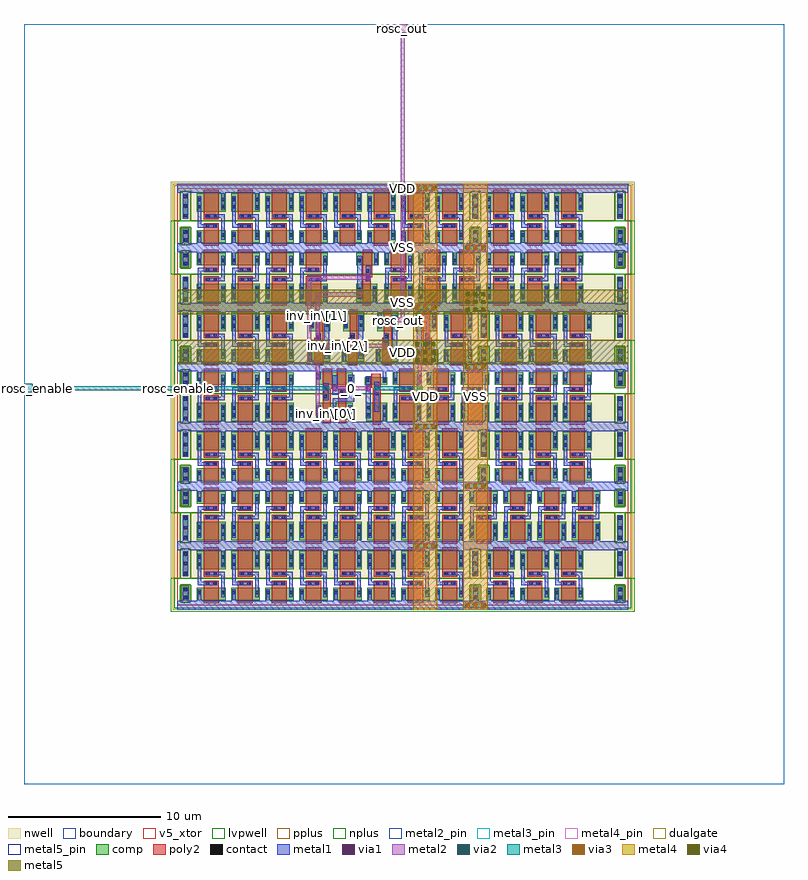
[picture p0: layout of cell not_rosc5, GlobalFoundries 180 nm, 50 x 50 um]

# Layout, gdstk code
from math import pi, radians
import gdstk
lib = gdstk.Library(unit=1e-6, precision=1e-09)
def R(c, l, rs):  # rectangles x0, y0, x1, y1
    for r in rs: c.add(gdstk.rectangle(r[:2], r[2:], *l))
def A(c, l, x, y, w, h, nx, ny, dx, dy):  # array of equal rectangles
    R(c, l, [(x+i*dx, y+j*dy, x+i*dx+w, y+j*dy+h) for i in range(nx) for j in range(ny)])
def P(c, l, *ps):  # polygons
    for p in ps: c.add(gdstk.Polygon(p, *l))
boundary = (0, 0)
nwell = (21, 0)
comp = (22, 0)
poly2 = (30, 0)
pplus = (31, 0)
nplus = (32, 0)
contact = (33, 0)
metal1 = (34, 0)
via1 = (35, 0)
metal2 = (36, 0)
metal2_pin = (36, 10)
via2 = (38, 0)
via3 = (40, 0)
via4 = (41, 0)
metal3 = (42, 0)
metal3_pin = (42, 10)
metal4 = (46, 0)
metal4_pin = (46, 10)
dualgate = (55, 0)
metal5 = (81, 0)
metal5_pin = (81, 10)
v5_xtor = (112, 1)
lvpwell = (204, 0)

gf180mcu_fd_sc_mcu7t5v0_ = lib.new_cell('gf180mcu_fd_sc_mcu7t5v0__endcap')
R(gf180mcu_fd_sc_mcu7t5v0_, boundary, [(0,0,1.12,3.92)])
R(gf180mcu_fd_sc_mcu7t5v0_, nwell, [(-0.43,1.76,1.55,4.35)])
R(gf180mcu_fd_sc_mcu7t5v0_, comp, [(0.28,0.28,0.8,1.28), (0.36,1.92,0.72,3.56)])
R(gf180mcu_fd_sc_mcu7t5v0_, pplus, [(0.2,0.2,0.88,1.36)])
P(gf180mcu_fd_sc_mcu7t5v0_, pplus, [(-0.2,1.76),(-0.2,4.12),(1.32,4.12),(1.32,1.76),(0.88,1.76),(0.88,3.72),(0.2,3.72),(0.2,1.76)])
P(gf180mcu_fd_sc_mcu7t5v0_, nplus, [(-0.2,-0.2),(-0.2,1.76),(0.2,1.76),(0.2,3.72),(0.88,3.72),(0.88,1.36),(0.2,1.36),(0.2,0.2),(0.88,0.2),(0.88,3.72),(0.88,1.76),(1.32,1.76),(1.32,-0.2)])
A(gf180mcu_fd_sc_mcu7t5v0_, contact, 0.43, 1.99, 0.22, 0.22, 1, 3, 0, 0.64)
R(gf180mcu_fd_sc_mcu7t5v0_, contact, [(0.43,0.4,0.65,0.62), (0.43,0.905,0.65,1.125)])
P(gf180mcu_fd_sc_mcu7t5v0_, metal1, [(0,-0.3),(0,0.3),(0.37,0.3),(0.37,1.19),(0.71,1.19),(0.71,0.3),(1.12,0.3),(1.12,-0.3)],
  [(0.37,1.92),(0.37,3.62),(0,3.62),(0,4.22),(1.12,4.22),(1.12,3.62),(0.71,3.62),(0.71,1.92)])
R(gf180mcu_fd_sc_mcu7t5v0_, dualgate, [(-0.28,-0.28,1.4,4.2)])
R(gf180mcu_fd_sc_mcu7t5v0_, v5_xtor, [(0,0,1.12,3.92)])
R(gf180mcu_fd_sc_mcu7t5v0_, lvpwell, [(-0.43,-0.43,1.55,1.76)])
gf180mcu_fd_sc_mcu7t5v0_.add(gdstk.Label('VSS', (0.56,-0.01), layer=34, texttype=10))
gf180mcu_fd_sc_mcu7t5v0_.add(gdstk.Label('VDD', (0.56,3.935), layer=34, texttype=10))
gf180mcu_fd_sc_mcu7t5v0_.add(gdstk.Label('& Vendor GLOBALFOUNDRIES', (0,2), layer=63, texttype=63))
gf180mcu_fd_sc_mcu7t5v0_.add(gdstk.Label('& Product GF018hv5v_mcu_sc7', (0,1.5), layer=63, texttype=63))
gf180mcu_fd_sc_mcu7t5v0_.add(gdstk.Label('& Version 2015q2v1', (0,1), layer=63, texttype=63))
gf180mcu_fd_sc_mcu7t5v0_.add(gdstk.Label('& Metric 1.00', (0,0.5), layer=63, texttype=63))

c_gf180mcu_fd_sc_mcu7t5v0_ = lib.new_cell('gf180mcu_fd_sc_mcu7t5v0__filltie')
R(c_gf180mcu_fd_sc_mcu7t5v0_, boundary, [(0,0,1.12,3.92)])
R(c_gf180mcu_fd_sc_mcu7t5v0_, nwell, [(-0.43,1.76,1.55,4.35)])
R(c_gf180mcu_fd_sc_mcu7t5v0_, comp, [(0.28,0.28,0.84,1.28), (0.36,1.92,0.76,3.56)])
R(c_gf180mcu_fd_sc_mcu7t5v0_, pplus, [(0.2,0.2,0.92,1.36)])
P(c_gf180mcu_fd_sc_mcu7t5v0_, pplus, [(-0.2,1.76),(-0.2,4.12),(1.32,4.12),(1.32,1.76),(0.92,1.76),(0.92,3.72),(0.2,3.72),(0.2,1.76)])
P(c_gf180mcu_fd_sc_mcu7t5v0_, nplus, [(-0.2,-0.2),(-0.2,1.76),(0.2,1.76),(0.2,3.72),(0.92,3.72),(0.92,1.36),(0.2,1.36),(0.2,0.2),(0.92,0.2),(0.92,3.72),(0.92,1.76),(1.32,1.76),(1.32,-0.2)])
A(c_gf180mcu_fd_sc_mcu7t5v0_, contact, 0.45, 1.99, 0.22, 0.22, 1, 3, 0, 0.64)
R(c_gf180mcu_fd_sc_mcu7t5v0_, contact, [(0.45,0.4,0.67,0.62), (0.45,0.905,0.67,1.125)])
P(c_gf180mcu_fd_sc_mcu7t5v0_, metal1, [(0,-0.3),(0,0.3),(0.39,0.3),(0.39,1.185),(0.73,1.185),(0.73,0.3),(1.12,0.3),(1.12,-0.3)],
  [(0.39,1.93),(0.39,3.62),(0,3.62),(0,4.22),(1.12,4.22),(1.12,3.62),(0.73,3.62),(0.73,1.93)])
R(c_gf180mcu_fd_sc_mcu7t5v0_, dualgate, [(-0.28,-0.28,1.4,4.2)])
R(c_gf180mcu_fd_sc_mcu7t5v0_, v5_xtor, [(0,0,1.12,3.92)])
R(c_gf180mcu_fd_sc_mcu7t5v0_, lvpwell, [(-0.43,-0.43,1.55,1.76)])
c_gf180mcu_fd_sc_mcu7t5v0_.add(gdstk.Label('VDD', (0.57,3.92), layer=34, texttype=10))
c_gf180mcu_fd_sc_mcu7t5v0_.add(gdstk.Label('VSS', (0.57,0), layer=34, texttype=10))
c_gf180mcu_fd_sc_mcu7t5v0_.add(gdstk.Label('& Vendor GLOBALFOUNDRIES', (0,2), layer=63, texttype=63))
c_gf180mcu_fd_sc_mcu7t5v0_.add(gdstk.Label('& Product GF018hv5v_mcu_sc7', (0,1.5), layer=63, texttype=63))
c_gf180mcu_fd_sc_mcu7t5v0_.add(gdstk.Label('& Version 2015q2v1', (0,1), layer=63, texttype=63))
c_gf180mcu_fd_sc_mcu7t5v0_.add(gdstk.Label('& Metric 1.00', (0,0.5), layer=63, texttype=63))

c_gf180mcu_fd_sc_mcu7t5v0__ = lib.new_cell('gf180mcu_fd_sc_mcu7t5v0__fill_1')
R(c_gf180mcu_fd_sc_mcu7t5v0__, boundary, [(0,0,0.56,3.92)])
R(c_gf180mcu_fd_sc_mcu7t5v0__, nwell, [(-0.43,1.76,0.99,4.35)])
R(c_gf180mcu_fd_sc_mcu7t5v0__, pplus, [(-0.2,1.76,0.76,4.12)])
R(c_gf180mcu_fd_sc_mcu7t5v0__, nplus, [(-0.2,-0.2,0.76,1.76)])
R(c_gf180mcu_fd_sc_mcu7t5v0__, metal1, [(0,-0.3,0.56,0.3), (0,3.62,0.56,4.22)])
R(c_gf180mcu_fd_sc_mcu7t5v0__, dualgate, [(-0.28,-0.28,0.84,4.2)])
R(c_gf180mcu_fd_sc_mcu7t5v0__, v5_xtor, [(0,0,0.56,3.92)])
R(c_gf180mcu_fd_sc_mcu7t5v0__, lvpwell, [(-0.43,-0.43,0.99,1.76)])
c_gf180mcu_fd_sc_mcu7t5v0__.add(gdstk.Label('VDD', (0.275,3.89), layer=34, texttype=10))
c_gf180mcu_fd_sc_mcu7t5v0__.add(gdstk.Label('VSS', (0.265,0.025), layer=34, texttype=10))
c_gf180mcu_fd_sc_mcu7t5v0__.add(gdstk.Label('& Vendor GLOBALFOUNDRIES', (0,2), layer=63, texttype=63))
c_gf180mcu_fd_sc_mcu7t5v0__.add(gdstk.Label('& Product GF018hv5v_mcu_sc7', (0,1.5), layer=63, texttype=63))
c_gf180mcu_fd_sc_mcu7t5v0__.add(gdstk.Label('& Version 2015q2v1', (0,1), layer=63, texttype=63))
c_gf180mcu_fd_sc_mcu7t5v0__.add(gdstk.Label('& Metric 1.00', (0,0.5), layer=63, texttype=63))
c_gf180mcu_fd_sc_mcu7t5v0__.add(gdstk.Label('VNW', (0.345,3.92), layer=21, texttype=10))
c_gf180mcu_fd_sc_mcu7t5v0__.add(gdstk.Label('VPW', (0.34,-0.085), layer=204, texttype=10))

c_gf180mcu_fd_sc_mcu7t5v0___ = lib.new_cell('gf180mcu_fd_sc_mcu7t5v0__fillcap_16')
R(c_gf180mcu_fd_sc_mcu7t5v0___, boundary, [(0,0,8.96,3.92)])
R(c_gf180mcu_fd_sc_mcu7t5v0___, nwell, [(-0.43,1.76,9.39,4.35)])
A(c_gf180mcu_fd_sc_mcu7t5v0___, comp, 0.18, 0.34, 1.88, 0.82, 4, 1, 2.24, 0)
A(c_gf180mcu_fd_sc_mcu7t5v0___, comp, 0.18, 2.36, 1.88, 1.22, 4, 1, 2.24, 0)
A(c_gf180mcu_fd_sc_mcu7t5v0___, poly2, 0.62, 0.12, 1, 1.5, 4, 1, 2.24, 0)
A(c_gf180mcu_fd_sc_mcu7t5v0___, poly2, 0.62, 1.875, 1, 1.925, 4, 1, 2.24, 0)
R(c_gf180mcu_fd_sc_mcu7t5v0___, pplus, [(-0.2,1.76,9.16,4.12)])
R(c_gf180mcu_fd_sc_mcu7t5v0___, nplus, [(-0.2,-0.2,9.16,1.76)])
R(c_gf180mcu_fd_sc_mcu7t5v0___, contact, [(0.25,0.735,0.47,0.955), (1.77,0.735,1.99,0.955), (2.49,0.735,2.71,0.955), (4.01,0.735,4.23,0.955), (4.73,0.735,4.95,0.955), (6.25,0.735,6.47,0.955), (6.97,0.735,7.19,0.955), (8.49,0.735,8.71,0.955), (0.765,1.33,0.985,1.55), (1.235,1.33,1.455,1.55), (3.005,1.33,3.225,1.55), (3.475,1.33,3.695,1.55), (5.245,1.33,5.465,1.55), (5.715,1.33,5.935,1.55), (7.485,1.33,7.705,1.55), (7.955,1.33,8.175,1.55), (0.805,1.965,1.025,2.185), (1.275,1.965,1.495,2.185), (3.045,1.965,3.265,2.185), (3.515,1.965,3.735,2.185), (5.285,1.965,5.505,2.185), (5.755,1.965,5.975,2.185), (7.525,1.965,7.745,2.185), (7.995,1.965,8.215,2.185), (0.25,2.59,0.47,2.81), (1.77,2.59,1.99,2.81), (2.49,2.59,2.71,2.81), (4.01,2.59,4.23,2.81), (4.73,2.59,4.95,2.81), (6.25,2.59,6.47,2.81), (6.97,2.59,7.19,2.81), (8.49,2.59,8.71,2.81), (0.25,3.06,0.47,3.28), (1.77,3.06,1.99,3.28), (2.49,3.06,2.71,3.28), (4.01,3.06,4.23,3.28), (4.73,3.06,4.95,3.28), (6.25,3.06,6.47,3.28), (6.97,3.06,7.19,3.28), (8.49,3.06,8.71,3.28)])
P(c_gf180mcu_fd_sc_mcu7t5v0___, metal1, [(0.245,1.325),(0.245,3.39),(0.475,3.39),(0.475,1.555),(1.52,1.555),(1.52,1.325)],
  [(1.765,0.53),(1.765,1.96),(0.73,1.96),(0.73,2.19),(1.995,2.19),(1.995,0.53)],
  [(2.485,1.325),(2.485,3.39),(2.715,3.39),(2.715,1.555),(3.76,1.555),(3.76,1.325)],
  [(4.005,0.53),(4.005,1.96),(2.97,1.96),(2.97,2.19),(4.235,2.19),(4.235,0.53)],
  [(4.725,1.325),(4.725,3.39),(4.955,3.39),(4.955,1.555),(6,1.555),(6,1.325)],
  [(6.245,0.53),(6.245,1.96),(5.21,1.96),(5.21,2.19),(6.475,2.19),(6.475,0.53)],
  [(6.965,1.325),(6.965,3.39),(7.195,3.39),(7.195,1.555),(8.24,1.555),(8.24,1.325)],
  [(8.485,0.53),(8.485,1.96),(7.45,1.96),(7.45,2.19),(8.715,2.19),(8.715,0.53)],
  [(0,-0.3),(0,0.3),(0.245,0.3),(0.245,1.07),(0.475,1.07),(0.475,0.3),(2.485,0.3),(2.485,1.07),(2.715,1.07),(2.715,0.3),(4.725,0.3),(4.725,1.07),(4.955,1.07),(4.955,0.3),(6.965,0.3),(6.965,1.07),(7.195,1.07),(7.195,0.3),(8.96,0.3),(8.96,-0.3)],
  [(1.765,2.49),(1.765,3.62),(0,3.62),(0,4.22),(8.96,4.22),(8.96,3.62),(8.715,3.62),(8.715,2.49),(8.485,2.49),(8.485,3.62),(6.475,3.62),(6.475,2.49),(6.245,2.49),(6.245,3.62),(4.235,3.62),(4.235,2.49),(4.005,2.49),(4.005,3.62),(1.995,3.62),(1.995,2.49)])
R(c_gf180mcu_fd_sc_mcu7t5v0___, dualgate, [(-0.28,-0.28,9.24,4.2)])
R(c_gf180mcu_fd_sc_mcu7t5v0___, v5_xtor, [(0,0,8.96,3.92)])
R(c_gf180mcu_fd_sc_mcu7t5v0___, lvpwell, [(-0.43,-0.43,9.39,1.76)])
c_gf180mcu_fd_sc_mcu7t5v0___.add(gdstk.Label('VDD', (4.48,3.92), layer=34, texttype=10))
c_gf180mcu_fd_sc_mcu7t5v0___.add(gdstk.Label('VSS', (4.48,-0.02), layer=34, texttype=10))
c_gf180mcu_fd_sc_mcu7t5v0___.add(gdstk.Label('& Vendor GLOBALFOUNDRIES', (0,2), layer=63, texttype=63))
c_gf180mcu_fd_sc_mcu7t5v0___.add(gdstk.Label('& Product GF018hv5v_mcu_sc7', (0,1.5), layer=63, texttype=63))
c_gf180mcu_fd_sc_mcu7t5v0___.add(gdstk.Label('& Version 2015q2v1', (0,1), layer=63, texttype=63))
c_gf180mcu_fd_sc_mcu7t5v0___.add(gdstk.Label('& Metric 1.00', (0,0.5), layer=63, texttype=63))
c_gf180mcu_fd_sc_mcu7t5v0___.add(gdstk.Label('VNW', (0.345,3.92), layer=21, texttype=10))
c_gf180mcu_fd_sc_mcu7t5v0___.add(gdstk.Label('VPW', (0.34,-0.085), layer=204, texttype=10))

c_gf180mcu_fd_sc_mcu7t5v0____ = lib.new_cell('gf180mcu_fd_sc_mcu7t5v0__fill_2')
R(c_gf180mcu_fd_sc_mcu7t5v0____, boundary, [(0,0,1.12,3.92)])
R(c_gf180mcu_fd_sc_mcu7t5v0____, nwell, [(-0.43,1.76,1.55,4.35)])
R(c_gf180mcu_fd_sc_mcu7t5v0____, pplus, [(-0.2,1.76,1.32,4.12)])
R(c_gf180mcu_fd_sc_mcu7t5v0____, nplus, [(-0.2,-0.2,1.32,1.76)])
R(c_gf180mcu_fd_sc_mcu7t5v0____, metal1, [(0,-0.3,1.12,0.3), (0,3.62,1.12,4.22)])
R(c_gf180mcu_fd_sc_mcu7t5v0____, dualgate, [(-0.28,-0.28,1.4,4.2)])
R(c_gf180mcu_fd_sc_mcu7t5v0____, v5_xtor, [(0,0,1.12,3.92)])
R(c_gf180mcu_fd_sc_mcu7t5v0____, lvpwell, [(-0.43,-0.43,1.55,1.76)])
c_gf180mcu_fd_sc_mcu7t5v0____.add(gdstk.Label('VDD', (0.51,3.89), layer=34, texttype=10))
c_gf180mcu_fd_sc_mcu7t5v0____.add(gdstk.Label('VSS', (0.52,0), layer=34, texttype=10))
c_gf180mcu_fd_sc_mcu7t5v0____.add(gdstk.Label('& Vendor GLOBALFOUNDRIES', (0,2), layer=63, texttype=63))
c_gf180mcu_fd_sc_mcu7t5v0____.add(gdstk.Label('& Product GF018hv5v_mcu_sc7', (0,1.5), layer=63, texttype=63))
c_gf180mcu_fd_sc_mcu7t5v0____.add(gdstk.Label('& Version 2015q2v1', (0,1), layer=63, texttype=63))
c_gf180mcu_fd_sc_mcu7t5v0____.add(gdstk.Label('& Metric 1.00', (0,0.5), layer=63, texttype=63))
c_gf180mcu_fd_sc_mcu7t5v0____.add(gdstk.Label('VNW', (0.345,3.92), layer=21, texttype=10))
c_gf180mcu_fd_sc_mcu7t5v0____.add(gdstk.Label('VPW', (0.34,-0.085), layer=204, texttype=10))

c_gf180mcu_fd_sc_mcu7t5v0_____ = lib.new_cell('gf180mcu_fd_sc_mcu7t5v0__fillcap_4')
R(c_gf180mcu_fd_sc_mcu7t5v0_____, boundary, [(0,0,2.24,3.92)])
R(c_gf180mcu_fd_sc_mcu7t5v0_____, nwell, [(-0.43,1.76,2.67,4.35)])
R(c_gf180mcu_fd_sc_mcu7t5v0_____, comp, [(0.18,0.34,2.06,1.16), (0.18,2.36,2.06,3.58)])
R(c_gf180mcu_fd_sc_mcu7t5v0_____, poly2, [(0.62,0.12,1.62,1.62), (0.62,1.875,1.62,3.8)])
R(c_gf180mcu_fd_sc_mcu7t5v0_____, pplus, [(-0.2,1.76,2.44,4.12)])
R(c_gf180mcu_fd_sc_mcu7t5v0_____, nplus, [(-0.2,-0.2,2.44,1.76)])
R(c_gf180mcu_fd_sc_mcu7t5v0_____, contact, [(0.25,0.735,0.47,0.955), (1.77,0.735,1.99,0.955), (0.765,1.33,0.985,1.55), (1.235,1.33,1.455,1.55), (0.805,1.965,1.025,2.185), (1.275,1.965,1.495,2.185), (0.25,2.59,0.47,2.81), (1.77,2.59,1.99,2.81), (0.25,3.06,0.47,3.28), (1.77,3.06,1.99,3.28)])
P(c_gf180mcu_fd_sc_mcu7t5v0_____, metal1, [(0.245,1.325),(0.245,3.39),(0.475,3.39),(0.475,1.555),(1.52,1.555),(1.52,1.325)],
  [(1.765,0.53),(1.765,1.96),(0.73,1.96),(0.73,2.19),(1.995,2.19),(1.995,0.53)],
  [(0,-0.3),(0,0.3),(0.245,0.3),(0.245,1.095),(0.475,1.095),(0.475,0.3),(2.24,0.3),(2.24,-0.3)],
  [(1.765,2.49),(1.765,3.62),(0,3.62),(0,4.22),(2.24,4.22),(2.24,3.62),(1.995,3.62),(1.995,2.49)])
R(c_gf180mcu_fd_sc_mcu7t5v0_____, dualgate, [(-0.28,-0.28,2.52,4.2)])
R(c_gf180mcu_fd_sc_mcu7t5v0_____, v5_xtor, [(0,0,2.24,3.92)])
R(c_gf180mcu_fd_sc_mcu7t5v0_____, lvpwell, [(-0.43,-0.43,2.67,1.76)])
c_gf180mcu_fd_sc_mcu7t5v0_____.add(gdstk.Label('VDD', (1.12,3.91), layer=34, texttype=10))
c_gf180mcu_fd_sc_mcu7t5v0_____.add(gdstk.Label('VSS', (1.12,-0.03), layer=34, texttype=10))
c_gf180mcu_fd_sc_mcu7t5v0_____.add(gdstk.Label('& Vendor GLOBALFOUNDRIES', (0,2), layer=63, texttype=63))
c_gf180mcu_fd_sc_mcu7t5v0_____.add(gdstk.Label('& Product GF018hv5v_mcu_sc7', (0,1.5), layer=63, texttype=63))
c_gf180mcu_fd_sc_mcu7t5v0_____.add(gdstk.Label('& Version 2015q2v1', (0,1), layer=63, texttype=63))
c_gf180mcu_fd_sc_mcu7t5v0_____.add(gdstk.Label('& Metric 1.00', (0,0.5), layer=63, texttype=63))
c_gf180mcu_fd_sc_mcu7t5v0_____.add(gdstk.Label('VNW', (0.345,3.92), layer=21, texttype=10))
c_gf180mcu_fd_sc_mcu7t5v0_____.add(gdstk.Label('VPW', (0.34,-0.085), layer=204, texttype=10))

c_gf180mcu_fd_sc_mcu7t5v0______ = lib.new_cell('gf180mcu_fd_sc_mcu7t5v0__fillcap_8')
R(c_gf180mcu_fd_sc_mcu7t5v0______, boundary, [(0,0,4.48,3.92)])
R(c_gf180mcu_fd_sc_mcu7t5v0______, nwell, [(-0.43,1.76,4.91,4.35)])
R(c_gf180mcu_fd_sc_mcu7t5v0______, comp, [(0.18,0.34,2.06,1.16), (2.42,0.34,4.3,1.16), (0.18,2.36,2.06,3.58), (2.42,2.36,4.3,3.58)])
R(c_gf180mcu_fd_sc_mcu7t5v0______, poly2, [(0.62,0.12,1.62,1.62), (2.86,0.12,3.86,1.62), (0.62,1.875,1.62,3.8), (2.86,1.875,3.86,3.8)])
R(c_gf180mcu_fd_sc_mcu7t5v0______, pplus, [(-0.2,1.76,4.68,4.12)])
R(c_gf180mcu_fd_sc_mcu7t5v0______, nplus, [(-0.2,-0.2,4.68,1.76)])
R(c_gf180mcu_fd_sc_mcu7t5v0______, contact, [(0.25,0.735,0.47,0.955), (1.77,0.735,1.99,0.955), (2.49,0.735,2.71,0.955), (4.01,0.735,4.23,0.955), (0.765,1.33,0.985,1.55), (1.235,1.33,1.455,1.55), (3.005,1.33,3.225,1.55), (3.475,1.33,3.695,1.55), (0.805,1.965,1.025,2.185), (1.275,1.965,1.495,2.185), (3.045,1.965,3.265,2.185), (3.515,1.965,3.735,2.185), (0.25,2.59,0.47,2.81), (1.77,2.59,1.99,2.81), (2.49,2.59,2.71,2.81), (4.01,2.59,4.23,2.81), (0.25,3.06,0.47,3.28), (1.77,3.06,1.99,3.28), (2.49,3.06,2.71,3.28), (4.01,3.06,4.23,3.28)])
P(c_gf180mcu_fd_sc_mcu7t5v0______, metal1, [(0.245,1.325),(0.245,3.39),(0.475,3.39),(0.475,1.555),(1.52,1.555),(1.52,1.325)],
  [(1.765,0.53),(1.765,1.96),(0.73,1.96),(0.73,2.19),(1.995,2.19),(1.995,0.53)],
  [(2.485,1.325),(2.485,3.39),(2.715,3.39),(2.715,1.555),(3.76,1.555),(3.76,1.325)],
  [(4.005,0.53),(4.005,1.96),(2.97,1.96),(2.97,2.19),(4.235,2.19),(4.235,0.53)],
  [(0,-0.3),(0,0.3),(0.245,0.3),(0.245,1.085),(0.475,1.085),(0.475,0.3),(2.485,0.3),(2.485,1.085),(2.715,1.085),(2.715,0.3),(4.48,0.3),(4.48,-0.3)],
  [(1.765,2.49),(1.765,3.62),(0,3.62),(0,4.22),(4.48,4.22),(4.48,3.62),(4.235,3.62),(4.235,2.49),(4.005,2.49),(4.005,3.62),(1.995,3.62),(1.995,2.49)])
R(c_gf180mcu_fd_sc_mcu7t5v0______, dualgate, [(-0.28,-0.28,4.76,4.2)])
R(c_gf180mcu_fd_sc_mcu7t5v0______, v5_xtor, [(0,0,4.48,3.92)])
R(c_gf180mcu_fd_sc_mcu7t5v0______, lvpwell, [(-0.43,-0.43,4.91,1.76)])
c_gf180mcu_fd_sc_mcu7t5v0______.add(gdstk.Label('VDD', (2.24,3.91), layer=34, texttype=10))
c_gf180mcu_fd_sc_mcu7t5v0______.add(gdstk.Label('VSS', (2.24,0.01), layer=34, texttype=10))
c_gf180mcu_fd_sc_mcu7t5v0______.add(gdstk.Label('& Vendor GLOBALFOUNDRIES', (0,2), layer=63, texttype=63))
c_gf180mcu_fd_sc_mcu7t5v0______.add(gdstk.Label('& Product GF018hv5v_mcu_sc7', (0,1.5), layer=63, texttype=63))
c_gf180mcu_fd_sc_mcu7t5v0______.add(gdstk.Label('& Version 2015q2v1', (0,1), layer=63, texttype=63))
c_gf180mcu_fd_sc_mcu7t5v0______.add(gdstk.Label('& Metric 1.00', (0,0.5), layer=63, texttype=63))
c_gf180mcu_fd_sc_mcu7t5v0______.add(gdstk.Label('VNW', (0.345,3.92), layer=21, texttype=10))
c_gf180mcu_fd_sc_mcu7t5v0______.add(gdstk.Label('VPW', (0.34,-0.085), layer=204, texttype=10))

c_gf180mcu_fd_sc_mcu7t5v0_______ = lib.new_cell('gf180mcu_fd_sc_mcu7t5v0__fillcap_32')
R(c_gf180mcu_fd_sc_mcu7t5v0_______, boundary, [(0,0,17.92,3.92)])
R(c_gf180mcu_fd_sc_mcu7t5v0_______, nwell, [(-0.43,1.76,18.35,4.35)])
A(c_gf180mcu_fd_sc_mcu7t5v0_______, comp, 0.18, 0.34, 1.88, 0.82, 8, 1, 2.24, 0)
A(c_gf180mcu_fd_sc_mcu7t5v0_______, comp, 0.18, 2.36, 1.88, 1.22, 8, 1, 2.24, 0)
A(c_gf180mcu_fd_sc_mcu7t5v0_______, poly2, 0.62, 0.12, 1, 1.5, 8, 1, 2.24, 0)
A(c_gf180mcu_fd_sc_mcu7t5v0_______, poly2, 0.62, 1.875, 1, 1.925, 8, 1, 2.24, 0)
R(c_gf180mcu_fd_sc_mcu7t5v0_______, pplus, [(-0.2,1.76,18.12,4.12)])
R(c_gf180mcu_fd_sc_mcu7t5v0_______, nplus, [(-0.2,-0.2,18.12,1.76)])
R(c_gf180mcu_fd_sc_mcu7t5v0_______, contact, [(0.25,0.735,0.47,0.955), (1.77,0.735,1.99,0.955), (2.49,0.735,2.71,0.955), (4.01,0.735,4.23,0.955), (4.73,0.735,4.95,0.955), (6.25,0.735,6.47,0.955), (6.97,0.735,7.19,0.955), (8.49,0.735,8.71,0.955), (9.21,0.735,9.43,0.955), (10.73,0.735,10.95,0.955), (11.45,0.735,11.67,0.955), (12.97,0.735,13.19,0.955), (13.69,0.735,13.91,0.955), (15.21,0.735,15.43,0.955), (15.93,0.735,16.15,0.955), (17.45,0.735,17.67,0.955), (0.765,1.33,0.985,1.55), (1.235,1.33,1.455,1.55), (3.005,1.33,3.225,1.55), (3.475,1.33,3.695,1.55), (5.245,1.33,5.465,1.55), (5.715,1.33,5.935,1.55), (7.485,1.33,7.705,1.55), (7.955,1.33,8.175,1.55), (9.725,1.33,9.945,1.55), (10.195,1.33,10.415,1.55), (11.965,1.33,12.185,1.55), (12.435,1.33,12.655,1.55), (14.205,1.33,14.425,1.55), (14.675,1.33,14.895,1.55), (16.445,1.33,16.665,1.55), (16.915,1.33,17.135,1.55), (0.805,1.965,1.025,2.185), (1.275,1.965,1.495,2.185), (3.045,1.965,3.265,2.185), (3.515,1.965,3.735,2.185), (5.285,1.965,5.505,2.185), (5.755,1.965,5.975,2.185), (7.525,1.965,7.745,2.185), (7.995,1.965,8.215,2.185), (9.765,1.965,9.985,2.185), (10.235,1.965,10.455,2.185), (12.005,1.965,12.225,2.185), (12.475,1.965,12.695,2.185), (14.245,1.965,14.465,2.185), (14.715,1.965,14.935,2.185), (16.485,1.965,16.705,2.185), (16.955,1.965,17.175,2.185), (0.25,2.59,0.47,2.81), (1.77,2.59,1.99,2.81), (2.49,2.59,2.71,2.81), (4.01,2.59,4.23,2.81), (4.73,2.59,4.95,2.81), (6.25,2.59,6.47,2.81), (6.97,2.59,7.19,2.81), (8.49,2.59,8.71,2.81), (9.21,2.59,9.43,2.81), (10.73,2.59,10.95,2.81), (11.45,2.59,11.67,2.81), (12.97,2.59,13.19,2.81), (13.69,2.59,13.91,2.81), (15.21,2.59,15.43,2.81), (15.93,2.59,16.15,2.81), (17.45,2.59,17.67,2.81), (0.25,3.06,0.47,3.28), (1.77,3.06,1.99,3.28), (2.49,3.06,2.71,3.28), (4.01,3.06,4.23,3.28), (4.73,3.06,4.95,3.28), (6.25,3.06,6.47,3.28), (6.97,3.06,7.19,3.28), (8.49,3.06,8.71,3.28), (9.21,3.06,9.43,3.28), (10.73,3.06,10.95,3.28), (11.45,3.06,11.67,3.28), (12.97,3.06,13.19,3.28), (13.69,3.06,13.91,3.28), (15.21,3.06,15.43,3.28), (15.93,3.06,16.15,3.28), (17.45,3.06,17.67,3.28)])
P(c_gf180mcu_fd_sc_mcu7t5v0_______, metal1, [(0.245,1.325),(0.245,3.39),(0.475,3.39),(0.475,1.555),(1.52,1.555),(1.52,1.325)],
  [(1.765,0.53),(1.765,1.96),(0.73,1.96),(0.73,2.19),(1.995,2.19),(1.995,0.53)],
  [(2.485,1.325),(2.485,3.39),(2.715,3.39),(2.715,1.555),(3.76,1.555),(3.76,1.325)],
  [(4.005,0.53),(4.005,1.96),(2.97,1.96),(2.97,2.19),(4.235,2.19),(4.235,0.53)],
  [(4.725,1.325),(4.725,3.39),(4.955,3.39),(4.955,1.555),(6,1.555),(6,1.325)],
  [(6.245,0.53),(6.245,1.96),(5.21,1.96),(5.21,2.19),(6.475,2.19),(6.475,0.53)],
  [(6.965,1.325),(6.965,3.39),(7.195,3.39),(7.195,1.555),(8.24,1.555),(8.24,1.325)],
  [(8.485,0.53),(8.485,1.96),(7.45,1.96),(7.45,2.19),(8.715,2.19),(8.715,0.53)],
  [(9.205,1.325),(9.205,3.39),(9.435,3.39),(9.435,1.555),(10.48,1.555),(10.48,1.325)],
  [(10.725,0.53),(10.725,1.96),(9.69,1.96),(9.69,2.19),(10.955,2.19),(10.955,0.53)],
  [(11.445,1.325),(11.445,3.39),(11.675,3.39),(11.675,1.555),(12.72,1.555),(12.72,1.325)],
  [(12.965,0.53),(12.965,1.96),(11.93,1.96),(11.93,2.19),(13.195,2.19),(13.195,0.53)],
  [(13.685,1.325),(13.685,3.39),(13.915,3.39),(13.915,1.555),(14.96,1.555),(14.96,1.325)],
  [(15.205,0.53),(15.205,1.96),(14.17,1.96),(14.17,2.19),(15.435,2.19),(15.435,0.53)],
  [(15.925,1.325),(15.925,3.39),(16.155,3.39),(16.155,1.555),(17.2,1.555),(17.2,1.325)],
  [(17.445,0.53),(17.445,1.96),(16.41,1.96),(16.41,2.19),(17.675,2.19),(17.675,0.53)],
  [(0,-0.3),(0,0.3),(0.245,0.3),(0.245,1.045),(0.475,1.045),(0.475,0.3),(2.485,0.3),(2.485,1.045),(2.715,1.045),(2.715,0.3),(4.725,0.3),(4.725,1.045),(4.955,1.045),(4.955,0.3),(6.965,0.3),(6.965,1.045),(7.195,1.045),(7.195,0.3),(9.205,0.3),(9.205,1.045),(9.435,1.045),(9.435,0.3),(11.445,0.3),(11.445,1.045),(11.675,1.045),(11.675,0.3),(13.685,0.3),(13.685,1.045),(13.915,1.045),(13.915,0.3),(15.925,0.3),(15.925,1.045),(16.155,1.045),(16.155,0.3),(17.92,0.3),(17.92,-0.3)],
  [(1.765,2.49),(1.765,3.62),(0,3.62),(0,4.22),(17.92,4.22),(17.92,3.62),(17.675,3.62),(17.675,2.49),(17.445,2.49),(17.445,3.62),(15.435,3.62),(15.435,2.49),(15.205,2.49),(15.205,3.62),(13.195,3.62),(13.195,2.49),(12.965,2.49),(12.965,3.62),(10.955,3.62),(10.955,2.49),(10.725,2.49),(10.725,3.62),(8.715,3.62),(8.715,2.49),(8.485,2.49),(8.485,3.62),(6.475,3.62),(6.475,2.49),(6.245,2.49),(6.245,3.62),(4.235,3.62),(4.235,2.49),(4.005,2.49),(4.005,3.62),(1.995,3.62),(1.995,2.49)])
R(c_gf180mcu_fd_sc_mcu7t5v0_______, dualgate, [(-0.28,-0.28,18.2,4.2)])
R(c_gf180mcu_fd_sc_mcu7t5v0_______, v5_xtor, [(0,0,17.92,3.92)])
R(c_gf180mcu_fd_sc_mcu7t5v0_______, lvpwell, [(-0.43,-0.43,18.35,1.76)])
c_gf180mcu_fd_sc_mcu7t5v0_______.add(gdstk.Label('VDD', (8.925,3.905), layer=34, texttype=10))
c_gf180mcu_fd_sc_mcu7t5v0_______.add(gdstk.Label('VSS', (8.955,0.005), layer=34, texttype=10))
c_gf180mcu_fd_sc_mcu7t5v0_______.add(gdstk.Label('& Vendor GLOBALFOUNDRIES', (0,2), layer=63, texttype=63))
c_gf180mcu_fd_sc_mcu7t5v0_______.add(gdstk.Label('& Product GF018hv5v_mcu_sc7', (0,1.5), layer=63, texttype=63))
c_gf180mcu_fd_sc_mcu7t5v0_______.add(gdstk.Label('& Version 2015q2v1', (0,1), layer=63, texttype=63))
c_gf180mcu_fd_sc_mcu7t5v0_______.add(gdstk.Label('& Metric 1.00', (0,0.5), layer=63, texttype=63))
c_gf180mcu_fd_sc_mcu7t5v0_______.add(gdstk.Label('VNW', (0.345,3.92), layer=21, texttype=10))
c_gf180mcu_fd_sc_mcu7t5v0_______.add(gdstk.Label('VPW', (0.34,-0.085), layer=204, texttype=10))

c_gf180mcu_fd_sc_mcu7t5v0________ = lib.new_cell('gf180mcu_fd_sc_mcu7t5v0__nand2_1')
R(c_gf180mcu_fd_sc_mcu7t5v0________, boundary, [(0,0,2.8,3.92)])
R(c_gf180mcu_fd_sc_mcu7t5v0________, nwell, [(-0.43,1.76,3.23,4.35)])
R(c_gf180mcu_fd_sc_mcu7t5v0________, comp, [(0.185,0.34,2.585,1.16), (0.185,2.36,2.585,3.49)])
P(c_gf180mcu_fd_sc_mcu7t5v0________, poly2, [(0.625,0.12),(0.625,3.71),(1.125,3.71),(1.125,1.44),(1.225,1.44),(1.225,0.12)],
  [(1.545,0.12),(1.545,1.44),(1.645,1.44),(1.645,3.71),(2.145,3.71),(2.145,0.12)])
R(c_gf180mcu_fd_sc_mcu7t5v0________, pplus, [(-0.2,1.76,3,4.12)])
R(c_gf180mcu_fd_sc_mcu7t5v0________, nplus, [(-0.2,-0.2,3,1.76)])
A(c_gf180mcu_fd_sc_mcu7t5v0________, contact, 0.255, 2.63, 0.22, 0.22, 3, 2, 1.02, 0.47)
R(c_gf180mcu_fd_sc_mcu7t5v0________, contact, [(0.255,0.485,0.475,0.705), (2.295,0.675,2.515,0.895), (0.695,1.365,0.915,1.585), (1.755,1.515,1.975,1.735), (0.695,1.835,0.915,2.055)])
R(c_gf180mcu_fd_sc_mcu7t5v0________, metal1, [(0.635,1.06,1,2.19)])
P(c_gf180mcu_fd_sc_mcu7t5v0________, metal1, [(1.24,0.555),(1.24,1.82),(2.055,1.82),(2.055,1.44),(1.605,1.44),(1.605,0.555)],
  [(2.29,0.53),(2.29,2.07),(1.27,2.07),(1.27,3.38),(1.5,3.38),(1.5,2.3),(2.68,2.3),(2.68,0.53)],
  [(0,-0.3),(0,0.3),(0.25,0.3),(0.25,0.805),(0.48,0.805),(0.48,0.3),(2.8,0.3),(2.8,-0.3)],
  [(0.25,2.53),(0.25,3.62),(0,3.62),(0,4.22),(2.8,4.22),(2.8,3.62),(2.52,3.62),(2.52,2.53),(2.29,2.53),(2.29,3.62),(0.48,3.62),(0.48,2.53)])
R(c_gf180mcu_fd_sc_mcu7t5v0________, dualgate, [(-0.28,-0.28,3.08,4.2)])
R(c_gf180mcu_fd_sc_mcu7t5v0________, v5_xtor, [(0,0,2.8,3.92)])
R(c_gf180mcu_fd_sc_mcu7t5v0________, lvpwell, [(-0.43,-0.43,3.23,1.76)])
c_gf180mcu_fd_sc_mcu7t5v0________.add(gdstk.Label('VDD', (1.4,3.905), layer=34, texttype=10))
c_gf180mcu_fd_sc_mcu7t5v0________.add(gdstk.Label('VSS', (1.4,-0.015), layer=34, texttype=10))
c_gf180mcu_fd_sc_mcu7t5v0________.add(gdstk.Label('ZN', (2.52,1.96), layer=34, texttype=10))
c_gf180mcu_fd_sc_mcu7t5v0________.add(gdstk.Label('A1', (1.4,1.4), layer=34, texttype=10))
c_gf180mcu_fd_sc_mcu7t5v0________.add(gdstk.Label('A2', (0.84,1.4), layer=34, texttype=10))
c_gf180mcu_fd_sc_mcu7t5v0________.add(gdstk.Label('& Vendor GLOBALFOUNDRIES', (0,2), layer=63, texttype=63))
c_gf180mcu_fd_sc_mcu7t5v0________.add(gdstk.Label('& Product GF018hv5v_mcu_sc7', (0,1.5), layer=63, texttype=63))
c_gf180mcu_fd_sc_mcu7t5v0________.add(gdstk.Label('& Version 2015q2v1', (0,1), layer=63, texttype=63))
c_gf180mcu_fd_sc_mcu7t5v0________.add(gdstk.Label('& Metric 1.00', (0,0.5), layer=63, texttype=63))
c_gf180mcu_fd_sc_mcu7t5v0________.add(gdstk.Label('VNW', (0.345,3.92), layer=21, texttype=10))
c_gf180mcu_fd_sc_mcu7t5v0________.add(gdstk.Label('VPW', (0.34,-0.085), layer=204, texttype=10))

c_gf180mcu_fd_sc_mcu7t5v0_________ = lib.new_cell('gf180mcu_fd_sc_mcu7t5v0__clkinv_1')
R(c_gf180mcu_fd_sc_mcu7t5v0_________, boundary, [(0,0,2.24,3.92)])
R(c_gf180mcu_fd_sc_mcu7t5v0_________, nwell, [(-0.43,1.76,2.67,4.35)])
R(c_gf180mcu_fd_sc_mcu7t5v0_________, comp, [(0.18,0.68,1.66,1.16), (0.18,2.36,1.56,3.58)])
P(c_gf180mcu_fd_sc_mcu7t5v0_________, poly2, [(0.62,0.46),(0.62,3.8),(1.12,3.8),(1.12,1.38),(1.22,1.38),(1.22,0.46)])
R(c_gf180mcu_fd_sc_mcu7t5v0_________, pplus, [(-0.2,1.76,2.44,4.12)])
R(c_gf180mcu_fd_sc_mcu7t5v0_________, nplus, [(-0.2,-0.2,2.44,1.76)])
R(c_gf180mcu_fd_sc_mcu7t5v0_________, contact, [(0.25,0.76,0.47,0.98), (1.37,0.76,1.59,0.98), (0.71,1.66,0.93,1.88), (0.25,2.58,0.47,2.8), (1.27,2.58,1.49,2.8), (0.25,3.05,0.47,3.27), (1.27,3.05,1.49,3.27)])
R(c_gf180mcu_fd_sc_mcu7t5v0_________, metal1, [(1.26,0.6,1.595,3.37), (0.705,0.97,1.03,2.95)])
P(c_gf180mcu_fd_sc_mcu7t5v0_________, metal1, [(0,-0.3),(0,0.3),(0.245,0.3),(0.245,1.04),(0.475,1.04),(0.475,0.3),(2.24,0.3),(2.24,-0.3)],
  [(0.245,2.48),(0.245,3.62),(0,3.62),(0,4.22),(2.24,4.22),(2.24,3.62),(0.475,3.62),(0.475,2.48)])
R(c_gf180mcu_fd_sc_mcu7t5v0_________, dualgate, [(-0.28,-0.28,2.52,4.2)])
R(c_gf180mcu_fd_sc_mcu7t5v0_________, v5_xtor, [(0,0,2.24,3.92)])
R(c_gf180mcu_fd_sc_mcu7t5v0_________, lvpwell, [(-0.43,-0.43,2.67,1.76)])
c_gf180mcu_fd_sc_mcu7t5v0_________.add(gdstk.Label('VDD', (1.4,3.92), layer=34, texttype=10))
c_gf180mcu_fd_sc_mcu7t5v0_________.add(gdstk.Label('VSS', (1.4,0), layer=34, texttype=10))
c_gf180mcu_fd_sc_mcu7t5v0_________.add(gdstk.Label('I', (0.84,1.96), layer=34, texttype=10))
c_gf180mcu_fd_sc_mcu7t5v0_________.add(gdstk.Label('ZN', (1.4,1.96), layer=34, texttype=10))
c_gf180mcu_fd_sc_mcu7t5v0_________.add(gdstk.Label('& Vendor GLOBALFOUNDRIES', (0,2), layer=63, texttype=63))
c_gf180mcu_fd_sc_mcu7t5v0_________.add(gdstk.Label('& Product GF018hv5v_mcu_sc7', (0,1.5), layer=63, texttype=63))
c_gf180mcu_fd_sc_mcu7t5v0_________.add(gdstk.Label('& Version 2015q2v1', (0,1), layer=63, texttype=63))
c_gf180mcu_fd_sc_mcu7t5v0_________.add(gdstk.Label('& Metric 1.00', (0,0.5), layer=63, texttype=63))
c_gf180mcu_fd_sc_mcu7t5v0_________.add(gdstk.Label('VNW', (0.345,3.92), layer=21, texttype=10))
c_gf180mcu_fd_sc_mcu7t5v0_________.add(gdstk.Label('VPW', (0.34,-0.085), layer=204, texttype=10))

c_gf180mcu_fd_sc_mcu7t5v0__________ = lib.new_cell('gf180mcu_fd_sc_mcu7t5v0__inv_1')
R(c_gf180mcu_fd_sc_mcu7t5v0__________, boundary, [(0,0,2.24,3.92)])
R(c_gf180mcu_fd_sc_mcu7t5v0__________, nwell, [(-0.43,1.76,2.67,4.35)])
R(c_gf180mcu_fd_sc_mcu7t5v0__________, comp, [(0.18,0.34,1.66,1.16), (0.28,2.36,1.66,3.58)])
P(c_gf180mcu_fd_sc_mcu7t5v0__________, poly2, [(0.62,0.12),(0.62,1.93),(0.72,1.93),(0.72,3.8),(1.22,3.8),(1.22,0.12)])
R(c_gf180mcu_fd_sc_mcu7t5v0__________, pplus, [(-0.2,1.76,2.44,4.12)])
R(c_gf180mcu_fd_sc_mcu7t5v0__________, nplus, [(-0.2,-0.2,2.44,1.76)])
R(c_gf180mcu_fd_sc_mcu7t5v0__________, contact, [(0.25,0.735,0.47,0.955), (1.37,0.735,1.59,0.955), (0.79,1.42,1.01,1.64), (0.79,1.89,1.01,2.11), (0.35,2.63,0.57,2.85), (1.37,2.63,1.59,2.85), (0.35,3.1,0.57,3.32), (1.37,3.1,1.59,3.32)])
R(c_gf180mcu_fd_sc_mcu7t5v0__________, metal1, [(1.265,0.53,1.595,3.39), (0.71,1.2,1.035,2.2)])
P(c_gf180mcu_fd_sc_mcu7t5v0__________, metal1, [(0,-0.3),(0,0.3),(0.245,0.3),(0.245,1.16),(0.475,1.16),(0.475,0.3),(2.24,0.3),(2.24,-0.3)],
  [(0.345,2.53),(0.345,3.62),(0,3.62),(0,4.22),(2.24,4.22),(2.24,3.62),(0.575,3.62),(0.575,2.53)])
R(c_gf180mcu_fd_sc_mcu7t5v0__________, dualgate, [(-0.28,-0.28,2.52,4.2)])
R(c_gf180mcu_fd_sc_mcu7t5v0__________, v5_xtor, [(0,0,2.24,3.92)])
R(c_gf180mcu_fd_sc_mcu7t5v0__________, lvpwell, [(-0.43,-0.43,2.67,1.76)])
c_gf180mcu_fd_sc_mcu7t5v0__________.add(gdstk.Label('VSS', (1.12,-0.08), layer=34, texttype=10))
c_gf180mcu_fd_sc_mcu7t5v0__________.add(gdstk.Label('ZN', (1.4,1.96), layer=34, texttype=10))
c_gf180mcu_fd_sc_mcu7t5v0__________.add(gdstk.Label('I', (0.84,1.96), layer=34, texttype=10))
c_gf180mcu_fd_sc_mcu7t5v0__________.add(gdstk.Label('VDD', (1.12,3.92), layer=34, texttype=10))
c_gf180mcu_fd_sc_mcu7t5v0__________.add(gdstk.Label('& Vendor GLOBALFOUNDRIES', (0,2), layer=63, texttype=63))
c_gf180mcu_fd_sc_mcu7t5v0__________.add(gdstk.Label('& Product GF018hv5v_mcu_sc7', (0,1.5), layer=63, texttype=63))
c_gf180mcu_fd_sc_mcu7t5v0__________.add(gdstk.Label('& Version 2015q2v1', (0,1), layer=63, texttype=63))
c_gf180mcu_fd_sc_mcu7t5v0__________.add(gdstk.Label('& Metric 1.00', (0,0.5), layer=63, texttype=63))
c_gf180mcu_fd_sc_mcu7t5v0__________.add(gdstk.Label('VNW', (0.345,3.92), layer=21, texttype=10))
c_gf180mcu_fd_sc_mcu7t5v0__________.add(gdstk.Label('VPW', (0.34,-0.085), layer=204, texttype=10))

not_rosc5 = lib.new_cell('not_rosc5')
R(not_rosc5, boundary, [(0,0,50,50)])
A(not_rosc5, metal1, 10.08, 11.46, 29.68, 0.6, 1, 8, 0, 3.92)
R(not_rosc5, metal1, [(20.31,24.17,20.57,24.55), (19.75,25.85,20.01,26.23), (20.31,25.85,20.57,26.23), (22.55,25.85,22.81,26.23), (23.11,25.85,23.37,26.23), (25.91,28.09,26.17,28.47), (19.75,28.65,20.01,29.03), (21.43,28.65,21.69,29.03), (21.99,28.65,22.25,29.03), (23.67,28.65,23.93,29.03), (19.19,29.21,19.45,29.59), (26.47,29.21,26.73,29.59), (24.23,30.33,24.49,30.71), (21.99,32.01,22.25,32.39), (22.55,33.13,22.81,33.51)])
A(not_rosc5, via1, 29.05, 11.63, 0.26, 0.26, 3, 4, 0.52, 7.84)
A(not_rosc5, via1, 25.75, 15.55, 0.26, 0.26, 3, 4, 0.52, 7.84)
R(not_rosc5, via1, [(20.31,24.23,20.57,24.49), (19.75,25.91,20.01,26.17), (20.31,25.91,20.57,26.17), (22.55,25.91,22.81,26.17), (23.11,25.91,23.37,26.17), (25.91,28.15,26.17,28.41), (19.75,28.71,20.01,28.97), (21.43,28.71,21.69,28.97), (21.99,28.71,22.25,28.97), (23.67,28.71,23.93,28.97), (19.19,29.27,19.45,29.53), (26.47,29.27,26.73,29.53), (24.23,30.39,24.49,30.65), (21.99,32.07,22.25,32.33), (22.55,33.19,22.81,33.45)])
A(not_rosc5, metal2, 29.04, 11.57, 1.32, 0.38, 1, 4, 0, 7.84)
A(not_rosc5, metal2, 25.74, 15.49, 1.32, 0.38, 1, 4, 0, 7.84)
R(not_rosc5, metal2, [(20.3,24.17,20.58,24.22), (19.18,24.22,20.58,24.5), (19.18,24.5,19.46,27.58), (20.3,24.5,20.58,24.55), (19.74,25.71,20.02,26.23), (23.1,25.71,23.38,26.23), (20.3,25.85,20.58,25.9), (22.54,25.85,22.82,25.9), (25.9,25.85,26.18,28.47), (20.3,25.9,22.82,26.18), (20.3,26.18,20.58,26.23), (22.54,26.18,22.82,26.23), (18.62,27.58,19.46,27.86), (18.62,27.86,18.9,33.18), (19.74,28.65,20.02,28.7), (21.42,28.65,21.7,28.7), (21.98,28.65,22.26,28.7), (23.66,28.65,23.94,28.7), (19.74,28.7,21.7,28.98), (21.98,28.7,23.94,28.98), (19.74,28.98,20.02,29.03), (21.42,28.98,21.7,29.03), (21.98,28.98,22.26,29.03), (23.66,28.98,23.94,29.03), (19.18,29.21,19.46,32.06), (26.46,29.21,26.74,30.38), (24.22,30.33,24.5,30.38), (24.22,30.38,26.74,30.66), (24.22,30.66,24.5,30.71), (24.78,30.66,25.06,49.44), (21.98,32.01,22.26,32.06), (19.18,32.06,22.26,32.34), (21.98,32.34,22.26,32.39), (22.54,33.13,22.82,33.18), (18.62,33.18,22.82,33.46), (22.54,33.46,22.82,33.51), (24.64,49.44,25.2,50)])
R(not_rosc5, metal2_pin, [(24.64,49.44,25.2,50)])
A(not_rosc5, via2, 29.05, 11.63, 0.26, 0.26, 3, 4, 0.52, 7.84)
A(not_rosc5, via2, 25.75, 15.55, 0.26, 0.26, 3, 4, 0.52, 7.84)
R(not_rosc5, via2, [(19.75,25.91,20.01,26.17), (23.11,25.91,23.37,26.17), (25.91,25.91,26.17,26.17)])
A(not_rosc5, via3, 29.05, 11.63, 0.26, 0.26, 3, 4, 0.52, 7.84)
A(not_rosc5, via3, 25.75, 15.55, 0.26, 0.26, 3, 4, 0.52, 7.84)
A(not_rosc5, via4, 25.75, 27.76, 0.26, 0.26, 3, 3, 0.52, 0.52)
A(not_rosc5, via4, 29.05, 31.06, 0.26, 0.26, 3, 3, 0.52, 0.52)
A(not_rosc5, metal3, 28.99, 11.62, 1.42, 0.28, 1, 4, 0, 7.84)
A(not_rosc5, metal3, 25.69, 15.54, 1.42, 0.28, 1, 4, 0, 7.84)
R(not_rosc5, metal3, [(0,25.76,0.56,25.9), (0,25.9,20.07,26.18), (23.05,25.9,26.23,26.18), (0,26.18,0.56,26.32)])
R(not_rosc5, metal3_pin, [(0,25.76,0.56,26.32)])
R(not_rosc5, metal4, [(25.6,11.46,27.2,39.5), (28.9,11.46,30.5,39.5)])
R(not_rosc5, metal4_pin, [(25.6,11.46,27.2,39.5), (28.9,11.46,30.5,39.5)])
R(not_rosc5, metal5, [(10.08,27.61,39.76,29.21), (10.08,30.91,39.76,32.51)])
R(not_rosc5, metal5_pin, [(10.08,27.61,39.76,29.21), (10.08,30.91,39.76,32.51)])
not_rosc5.add(gdstk.Reference(gf180mcu_fd_sc_mcu7t5v0_, (10.08,19.6), x_reflection=True))
not_rosc5.add(gdstk.Reference(gf180mcu_fd_sc_mcu7t5v0_, (10.08,11.76)))
not_rosc5.add(gdstk.Reference(c_gf180mcu_fd_sc_mcu7t5v0_, (29.12,11.76)))
not_rosc5.add(gdstk.Reference(gf180mcu_fd_sc_mcu7t5v0_, (39.76,19.6), rotation=pi))
not_rosc5.add(gdstk.Reference(gf180mcu_fd_sc_mcu7t5v0_, (39.76,11.76), rotation=pi, x_reflection=True))
not_rosc5.add(gdstk.Reference(c_gf180mcu_fd_sc_mcu7t5v0__, (38.08,19.6), x_reflection=True))
not_rosc5.add(gdstk.Reference(c_gf180mcu_fd_sc_mcu7t5v0___, (29.12,19.6), x_reflection=True))
not_rosc5.add(gdstk.Reference(c_gf180mcu_fd_sc_mcu7t5v0__, (38.08,11.76)))
not_rosc5.add(gdstk.Reference(c_gf180mcu_fd_sc_mcu7t5v0____, (36.96,11.76)))
not_rosc5.add(gdstk.Reference(c_gf180mcu_fd_sc_mcu7t5v0_____, (34.72,11.76)))
not_rosc5.add(gdstk.Reference(c_gf180mcu_fd_sc_mcu7t5v0______, (30.24,11.76)))
not_rosc5.add(gdstk.Reference(c_gf180mcu_fd_sc_mcu7t5v0_______, (11.2,19.6), x_reflection=True))
not_rosc5.add(gdstk.Reference(c_gf180mcu_fd_sc_mcu7t5v0_______, (11.2,11.76)))
not_rosc5.add(gdstk.Reference(c_gf180mcu_fd_sc_mcu7t5v0_______, (11.2,19.6)))
not_rosc5.add(gdstk.Reference(c_gf180mcu_fd_sc_mcu7t5v0__, (29.12,19.6)))
not_rosc5.add(gdstk.Reference(c_gf180mcu_fd_sc_mcu7t5v0______, (30.8,19.6)))
not_rosc5.add(gdstk.Reference(c_gf180mcu_fd_sc_mcu7t5v0_____, (35.28,19.6)))
not_rosc5.add(gdstk.Reference(c_gf180mcu_fd_sc_mcu7t5v0____, (37.52,19.6)))
not_rosc5.add(gdstk.Reference(gf180mcu_fd_sc_mcu7t5v0_, (10.08,19.6)))
not_rosc5.add(gdstk.Reference(gf180mcu_fd_sc_mcu7t5v0_, (39.76,19.6), rotation=pi, x_reflection=True))
not_rosc5.add(gdstk.Reference(c_gf180mcu_fd_sc_mcu7t5v0_, (29.68,19.6)))
not_rosc5.add(gdstk.Reference(c_gf180mcu_fd_sc_mcu7t5v0________, (19.04,27.44), x_reflection=True))
not_rosc5.add(gdstk.Reference(gf180mcu_fd_sc_mcu7t5v0_, (10.08,27.44), x_reflection=True))
not_rosc5.add(gdstk.Reference(c_gf180mcu_fd_sc_mcu7t5v0______, (11.2,27.44), x_reflection=True))
not_rosc5.add(gdstk.Reference(c_gf180mcu_fd_sc_mcu7t5v0____, (17.92,27.44), x_reflection=True))
not_rosc5.add(gdstk.Reference(c_gf180mcu_fd_sc_mcu7t5v0_____, (15.68,27.44), x_reflection=True))
not_rosc5.add(gdstk.Reference(c_gf180mcu_fd_sc_mcu7t5v0_________, (24.08,27.44), rotation=pi))
not_rosc5.add(gdstk.Reference(c_gf180mcu_fd_sc_mcu7t5v0___, (24.08,27.44), x_reflection=True))
not_rosc5.add(gdstk.Reference(gf180mcu_fd_sc_mcu7t5v0_, (39.76,27.44), rotation=pi))
not_rosc5.add(gdstk.Reference(c_gf180mcu_fd_sc_mcu7t5v0____, (37.52,27.44), x_reflection=True))
not_rosc5.add(gdstk.Reference(c_gf180mcu_fd_sc_mcu7t5v0______, (33.04,27.44), x_reflection=True))
not_rosc5.add(gdstk.Reference(gf180mcu_fd_sc_mcu7t5v0_, (10.08,27.44)))
not_rosc5.add(gdstk.Reference(c_gf180mcu_fd_sc_mcu7t5v0______, (11.2,27.44)))
not_rosc5.add(gdstk.Reference(c_gf180mcu_fd_sc_mcu7t5v0__________, (20.72,27.44)))
not_rosc5.add(gdstk.Reference(c_gf180mcu_fd_sc_mcu7t5v0__________, (18.48,27.44)))
not_rosc5.add(gdstk.Reference(c_gf180mcu_fd_sc_mcu7t5v0__, (17.92,27.44)))
not_rosc5.add(gdstk.Reference(c_gf180mcu_fd_sc_mcu7t5v0_____, (15.68,27.44)))
not_rosc5.add(gdstk.Reference(c_gf180mcu_fd_sc_mcu7t5v0__________, (27.44,27.44), rotation=pi, x_reflection=True))
not_rosc5.add(gdstk.Reference(c_gf180mcu_fd_sc_mcu7t5v0__________, (22.96,27.44)))
not_rosc5.add(gdstk.Reference(c_gf180mcu_fd_sc_mcu7t5v0_, (29.68,27.44)))
not_rosc5.add(gdstk.Reference(c_gf180mcu_fd_sc_mcu7t5v0______, (30.8,27.44)))
not_rosc5.add(gdstk.Reference(c_gf180mcu_fd_sc_mcu7t5v0_____, (27.44,27.44)))
not_rosc5.add(gdstk.Reference(c_gf180mcu_fd_sc_mcu7t5v0_____, (35.28,27.44)))
not_rosc5.add(gdstk.Reference(gf180mcu_fd_sc_mcu7t5v0_, (39.76,27.44), rotation=pi, x_reflection=True))
not_rosc5.add(gdstk.Reference(c_gf180mcu_fd_sc_mcu7t5v0____, (37.52,27.44)))
not_rosc5.add(gdstk.Reference(c_gf180mcu_fd_sc_mcu7t5v0__________, (23.52,35.28), rotation=pi))
not_rosc5.add(gdstk.Reference(gf180mcu_fd_sc_mcu7t5v0_, (10.08,35.28)))
not_rosc5.add(gdstk.Reference(gf180mcu_fd_sc_mcu7t5v0_, (10.08,35.28), x_reflection=True))
not_rosc5.add(gdstk.Reference(c_gf180mcu_fd_sc_mcu7t5v0___, (23.52,35.28), x_reflection=True))
not_rosc5.add(gdstk.Reference(c_gf180mcu_fd_sc_mcu7t5v0___, (11.2,35.28), x_reflection=True))
not_rosc5.add(gdstk.Reference(c_gf180mcu_fd_sc_mcu7t5v0____, (20.16,35.28), x_reflection=True))
not_rosc5.add(gdstk.Reference(c_gf180mcu_fd_sc_mcu7t5v0______, (30.24,35.28)))
not_rosc5.add(gdstk.Reference(c_gf180mcu_fd_sc_mcu7t5v0_, (29.12,35.28)))
not_rosc5.add(gdstk.Reference(c_gf180mcu_fd_sc_mcu7t5v0______, (32.48,35.28), x_reflection=True))
not_rosc5.add(gdstk.Reference(c_gf180mcu_fd_sc_mcu7t5v0_____, (34.72,35.28)))
not_rosc5.add(gdstk.Reference(c_gf180mcu_fd_sc_mcu7t5v0____, (36.96,35.28), x_reflection=True))
not_rosc5.add(gdstk.Reference(c_gf180mcu_fd_sc_mcu7t5v0__, (38.08,35.28), x_reflection=True))
not_rosc5.add(gdstk.Reference(c_gf180mcu_fd_sc_mcu7t5v0____, (36.96,35.28)))
not_rosc5.add(gdstk.Reference(c_gf180mcu_fd_sc_mcu7t5v0__, (38.08,35.28)))
not_rosc5.add(gdstk.Reference(gf180mcu_fd_sc_mcu7t5v0_, (39.76,35.28), rotation=pi))
not_rosc5.add(gdstk.Reference(gf180mcu_fd_sc_mcu7t5v0_, (39.76,35.28), rotation=pi, x_reflection=True))
not_rosc5.add(gdstk.Reference(c_gf180mcu_fd_sc_mcu7t5v0_______, (11.2,35.28)))
not_rosc5.add(gdstk.Label('VDD', (24.92,39.2), layer=34, texttype=0))
not_rosc5.add(gdstk.Label('VSS', (24.92,35.28), layer=34, texttype=0))
not_rosc5.add(gdstk.Label('_0_', (21.56,26.04), layer=36, texttype=0))
not_rosc5.add(gdstk.Label('inv_in\\[0\\]', (19.88,24.36), layer=36, texttype=0))
not_rosc5.add(gdstk.Label('inv_in\\[1\\]', (19.32,30.8), layer=36, texttype=0))
not_rosc5.add(gdstk.Label('inv_in\\[2\\]', (20.72,28.84), layer=36, texttype=0))
not_rosc5.add(gdstk.Label('inv_in\\[3\\]', (22.96,28.84), layer=36, texttype=0))
not_rosc5.add(gdstk.Label('inv_out\\[4\\]', (24.64,26.04), layer=42, texttype=0))
not_rosc5.add(gdstk.Label('rosc_enable', (10.15,26.04), layer=42, texttype=0))
not_rosc5.add(gdstk.Label('rosc_out', (24.64,30.52), layer=36, texttype=0))
not_rosc5.add(gdstk.Label('VDD', (24.92,28.41), layer=81, texttype=10))
not_rosc5.add(gdstk.Label('VDD', (26.4,25.48), layer=46, texttype=10))
not_rosc5.add(gdstk.Label('VSS', (24.92,31.71), layer=81, texttype=10))
not_rosc5.add(gdstk.Label('VSS', (29.7,25.48), layer=46, texttype=10))
not_rosc5.add(gdstk.Label('rosc_enable', (0.28,26.04), layer=42, texttype=10))
not_rosc5.add(gdstk.Label('rosc_out', (24.92,49.72), layer=36, texttype=10))

lib.write_gds('not_rosc5.gds')
